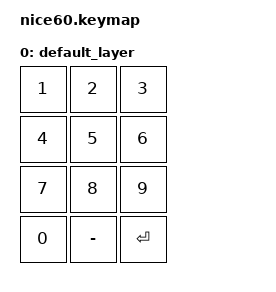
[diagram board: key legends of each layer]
/*
 * SPDX-License-Identifier: MIT
 */

#include <behaviors.dtsi>
#include <dt-bindings/zmk/keys.h>

/ {
    keymap {
        compatible = "zmk,keymap";

        default_layer {
            bindings = <
                &kp 1        &kp 2      &kp 3
                &kp 4        &kp 5      &kp 6
                &kp 7        &kp 8      &kp 9
                &kp 0        &kp MINUS  &kp ENTER
            >;
        };
    };
};
